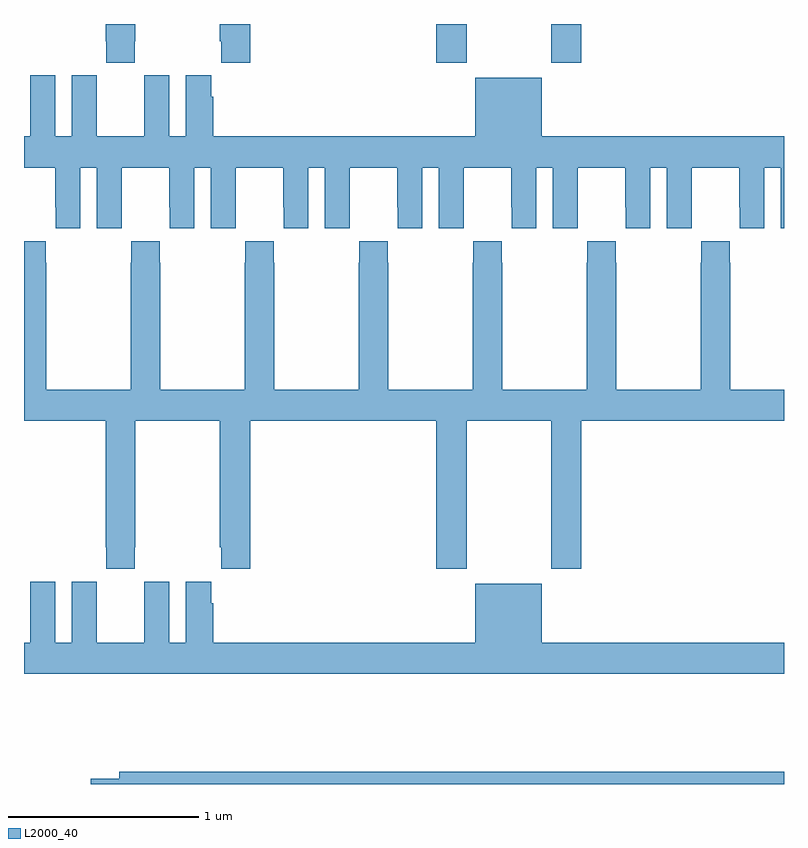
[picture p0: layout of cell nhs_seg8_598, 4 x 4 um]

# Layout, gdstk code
import gdstk
lib = gdstk.Library(unit=1e-6, precision=1e-09)
def R(c, l, rs):  # rectangles x0, y0, x1, y1
    for r in rs: c.add(gdstk.rectangle(r[:2], r[2:], *l))
def P(c, l, *ps):  # polygons
    for p in ps: c.add(gdstk.Polygon(p, *l))
L2000_40 = (2000, 40)

nhs_seg8_598 = lib.new_cell('nhs_seg8_598')
R(nhs_seg8_598, L2000_40, [(151.169,1139.697,151.329,1139.9), (151.774,1139.697,151.934,1139.9)])
P(nhs_seg8_598, L2000_40, [(150.191,1139.9),(150.031,1139.9),(150.031,1139.809),(150.037,1139.809),(150.037,1139.697),(150.191,1139.697)],
  [(149.583,1139.809),(149.586,1139.809),(149.586,1139.9),(149.431,1139.9),(149.431,1139.809),(149.433,1139.809),(149.433,1139.697),(149.583,1139.697)],
  [(149.996,1139.516),(149.986,1139.516),(149.986,1139.629),(149.852,1139.629),(149.852,1139.308),(149.764,1139.308),(149.764,1139.629),(149.634,1139.629),(149.634,1139.516),(149.633,1139.516),(149.633,1139.308),(149.383,1139.308),(149.383,1139.516),(149.382,1139.516),(149.382,1139.629),(149.252,1139.629),(149.252,1139.308),(149.164,1139.308),(149.164,1139.629),(149.034,1139.629),(149.034,1139.516),(149.033,1139.516),(149.033,1139.308),(149,1139.308),(149,1139.144),(149.165,1139.144),(149.165,1138.936),(149.166,1138.936),(149.166,1138.824),(149.296,1138.824),(149.296,1139.144),(149.384,1139.144),(149.384,1138.824),(149.514,1138.824),(149.514,1138.936),(149.515,1138.936),(149.515,1139.144),(149.765,1139.144),(149.765,1138.936),(149.766,1138.936),(149.766,1138.824),(149.896,1138.824),(149.896,1139.144),(149.984,1139.144),(149.984,1138.824),(150.114,1138.824),(150.114,1138.936),(150.115,1138.936),(150.115,1139.144),(150.365,1139.144),(150.365,1138.936),(150.366,1138.936),(150.366,1138.824),(150.496,1138.824),(150.496,1139.144),(150.584,1139.144),(150.584,1138.824),(150.714,1138.824),(150.714,1138.936),(150.715,1138.936),(150.715,1139.144),(150.965,1139.144),(150.965,1138.936),(150.966,1138.936),(150.966,1138.824),(151.096,1138.824),(151.096,1139.144),(151.184,1139.144),(151.184,1138.824),(151.314,1138.824),(151.314,1138.936),(151.315,1138.936),(151.315,1139.144),(151.565,1139.144),(151.565,1138.936),(151.566,1138.936),(151.566,1138.824),(151.696,1138.824),(151.696,1139.144),(151.784,1139.144),(151.784,1138.824),(151.914,1138.824),(151.914,1138.936),(151.915,1138.936),(151.915,1139.144),(152.165,1139.144),(152.165,1138.936),(152.166,1138.936),(152.166,1138.824),(152.296,1138.824),(152.296,1139.144),(152.384,1139.144),(152.384,1138.824),(152.514,1138.824),(152.514,1138.936),(152.515,1138.936),(152.515,1139.144),(152.765,1139.144),(152.765,1138.936),(152.766,1138.936),(152.766,1138.824),(152.896,1138.824),(152.896,1139.144),(152.984,1139.144),(152.984,1138.824),(153,1138.824),(153,1139.308),(151.726,1139.308),(151.726,1139.617),(151.376,1139.617),(151.376,1139.308),(149.996,1139.308)],
  [(151.774,1137.033),(151.934,1137.033),(151.934,1137.812),(153,1137.812),(153,1137.976),(152.718,1137.976),(152.718,1138.643),(152.715,1138.643),(152.715,1138.756),(152.565,1138.756),(152.565,1138.643),(152.563,1138.643),(152.563,1137.976),(152.118,1137.976),(152.118,1138.643),(152.115,1138.643),(152.115,1138.756),(151.965,1138.756),(151.965,1138.643),(151.963,1138.643),(151.963,1137.976),(151.518,1137.976),(151.518,1138.643),(151.515,1138.643),(151.515,1138.756),(151.365,1138.756),(151.365,1138.643),(151.363,1138.643),(151.363,1137.976),(150.918,1137.976),(150.918,1138.643),(150.915,1138.643),(150.915,1138.756),(150.765,1138.756),(150.765,1138.643),(150.763,1138.643),(150.763,1137.976),(150.318,1137.976),(150.318,1138.643),(150.315,1138.643),(150.315,1138.756),(150.165,1138.756),(150.165,1138.643),(150.163,1138.643),(150.163,1137.976),(149.718,1137.976),(149.718,1138.643),(149.715,1138.643),(149.715,1138.756),(149.565,1138.756),(149.565,1138.643),(149.563,1138.643),(149.563,1137.976),(149.118,1137.976),(149.118,1138.643),(149.115,1138.643),(149.115,1138.756),(149,1138.756),(149,1137.812),(149.431,1137.812),(149.431,1137.145),(149.433,1137.145),(149.433,1137.033),(149.583,1137.033),(149.583,1137.145),(149.586,1137.145),(149.586,1137.812),(150.031,1137.812),(150.031,1137.145),(150.037,1137.145),(150.037,1137.033),(150.191,1137.033),(150.191,1137.812),(151.169,1137.812),(151.169,1137.033),(151.329,1137.033),(151.329,1137.812),(151.774,1137.812)],
  [(153,1136.644),(151.726,1136.644),(151.726,1136.953),(151.376,1136.953),(151.376,1136.644),(149.996,1136.644),(149.996,1136.852),(149.986,1136.852),(149.986,1136.965),(149.852,1136.965),(149.852,1136.644),(149.764,1136.644),(149.764,1136.965),(149.634,1136.965),(149.634,1136.852),(149.633,1136.852),(149.633,1136.644),(149.383,1136.644),(149.383,1136.852),(149.382,1136.852),(149.382,1136.965),(149.252,1136.965),(149.252,1136.644),(149.164,1136.644),(149.164,1136.965),(149.034,1136.965),(149.034,1136.852),(149.033,1136.852),(149.033,1136.644),(149,1136.644),(149,1136.48),(153,1136.48)],
  [(153,1135.964),(149.501,1135.964),(149.501,1135.928),(149.352,1135.928),(149.352,1135.9),(153,1135.9)])

lib.write_gds('nhs_seg8_598.gds')
